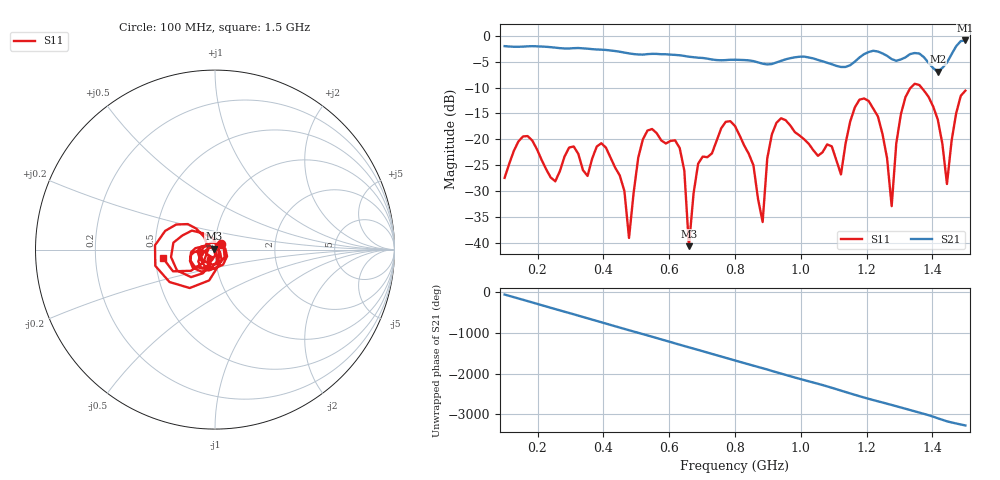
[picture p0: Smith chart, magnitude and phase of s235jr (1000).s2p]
! NanoVNA-App
! Date: 2025-09-25 15:11:57
! Start: 100MHz Stop: 1,5GHz Points: 101
! S-Parameter data: F S11 S21 S12 S22
# Hz S RI R 50
!  Frequency  S11_Real  S11_Imag  S21_Real  S21_Imag  S12_Real  S12_Imag  S22_Real  S22_Imag
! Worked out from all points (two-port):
!   101 points, 100 MHz to 1.5 GHz, reference 50 ohm
!   highest |S21| = -0.86 dB at 1.5 GHz (marker M1); lowest = -6.9 dB at 1.416 GHz (marker M2)
!   |S21| within 3 dB of the highest: start of sweep to 646.1 MHz; 1.185 GHz to 1.263 GHz (77.95 MHz wide, 6.37 % of centre) (the widest 2 of 4)
!   lowest |S11| = -40.7 dB at 660 MHz (marker M3), VSWR 1.02, Z = 49.3 + j0.584 ohm
!   |S11| at or under -10 dB: start of sweep to 1.334 GHz; 1.367 GHz to end of sweep
!   S12 and S22 are empty: the file has one direction only
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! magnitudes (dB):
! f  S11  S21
! 100 MHz  -27.5  -2.0
! 156 MHz  -19.5  -2.1
! 338 MHz  -26.0  -2.4
! 408 MHz  -21.6  -2.7
! 478 MHz  -39.1  -3.4
! 520 MHz  -20.1  -3.6
! 576 MHz  -20.2  -3.5
! 632 MHz  -21.7  -3.7
! 660 MHz  -40.7  -4.0
! 688 MHz  -24.7  -4.2
! 800 MHz  -17.4  -4.6
! 884 MHz  -36.0  -5.4
! 926 MHz  -16.8  -5.1
! 1.038 GHz  -22.1  -4.3
! 1.122 GHz  -26.8  -6.0
! 1.206 GHz  -12.6  -3.1
! 1.276 GHz  -33.0  -4.5
! 1.29 GHz  -20.8  -4.8
! 1.332 GHz  -10.1  -3.5
! 1.416 GHz  -16.2  -6.9
! 1.444 GHz  -28.7  -5.2
! 1.5 GHz  -10.6  -0.9
